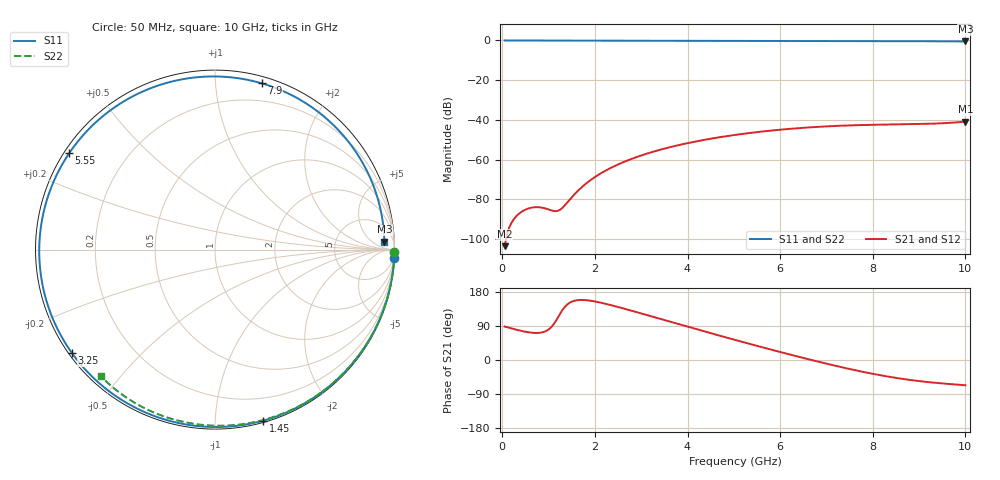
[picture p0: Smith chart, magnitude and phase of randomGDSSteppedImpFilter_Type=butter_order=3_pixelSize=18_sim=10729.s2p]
! freq	dB(S11)	phase(S11)	dB(S12)	phase(S12)
!  dB(S21)	phase(S21)	dB(S22)	phase(S22)
!S-par simulation data
#  GHz  S  DB  R 50
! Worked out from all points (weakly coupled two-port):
!   200 points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, 50 MHz to 10 GHz, reference 50 ohm
!   highest |S21| = -40.89 dB at 10 GHz (marker M1); lowest = -103.6 dB at 50 MHz (marker M2)
!   lowest |S11| = -0.5 dB at 10 GHz (marker M3), VSWR 35.17, Z = 1.04e+03 + j864 ohm
!   |S11| at or under -10 dB: nowhere
!   |S22| runs from -0.4 to 0.0 dB; largest |S21 - S12| = 0
!   S11 on the Smith chart (normalised r, x): 50 MHz: 0, -42; 1.45 GHz: 0.01, -1.32; 3.25 GHz: 0.01, -0.32; 5.55 GHz: 0.01, +0.30; 7.9 GHz: 0.05, +1.32; 10 GHz: 21, +17
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0.05  -0.00 -2.8  -103.64 88.3  -103.64 88.3  -0.00 -0.8
0.4  -0.03 -21.7  -86.56 77.1  -86.56 77.1  -0.01 -6.1
0.8  -0.05 -42.7  -84.03 71.7  -84.03 71.7  -0.02 -12.1
1.15  -0.07 -60.2  -86.00 101.8  -86.00 101.8  -0.02 -17.4
1.45  -0.09 -74.3  -80.36 150.8  -80.36 150.8  -0.03 -21.9
1.75  -0.10 -87.7  -73.23 158.4  -73.23 158.4  -0.03 -26.3
2.05  -0.11 -100.3  -68.07 153.2  -68.07 153.2  -0.04 -30.7
2.4  -0.12 -114.1  -63.55 143.1  -63.55 143.1  -0.05 -35.8
2.85  -0.13 -130.5  -59.17 128.0  -59.17 128.0  -0.05 -42.3
3.25  -0.14 -144.2  -56.11 114.1  -56.11 114.1  -0.06 -48.0
3.4  -0.15 -149.1  -55.11 108.9  -55.11 108.9  -0.07 -50.1
4.2  -0.17 -174.0  -50.80 81.1  -50.80 81.1  -0.09 -61.1
5.05  -0.21 161.0  -47.52 52.2  -47.52 52.2  -0.11 -72.5
5.55  -0.23 146.5  -46.05 35.7  -46.05 35.7  -0.13 -79.0
6.15  -0.26 128.9  -44.65 16.3  -44.65 16.3  -0.15 -86.6
6.7  -0.28 112.4  -43.69 -0.7  -43.69 -0.7  -0.18 -93.4
7.3  -0.31 93.7  -42.97 -18.2  -42.97 -18.2  -0.21 -100.7
7.9  -0.33 74.4  -42.54 -34.0  -42.54 -34.0  -0.25 -107.8
8.35  -0.36 59.4  -42.37 -44.2  -42.37 -44.2  -0.29 -113.1
9.2  -0.41 30.3  -42.00 -58.4  -42.00 -58.4  -0.36 -122.9
9.6  -0.45 16.5  -41.59 -62.8  -41.59 -62.8  -0.40 -127.4
10  -0.49 2.7  -40.89 -66.7  -40.89 -66.7  -0.45 -132.0
